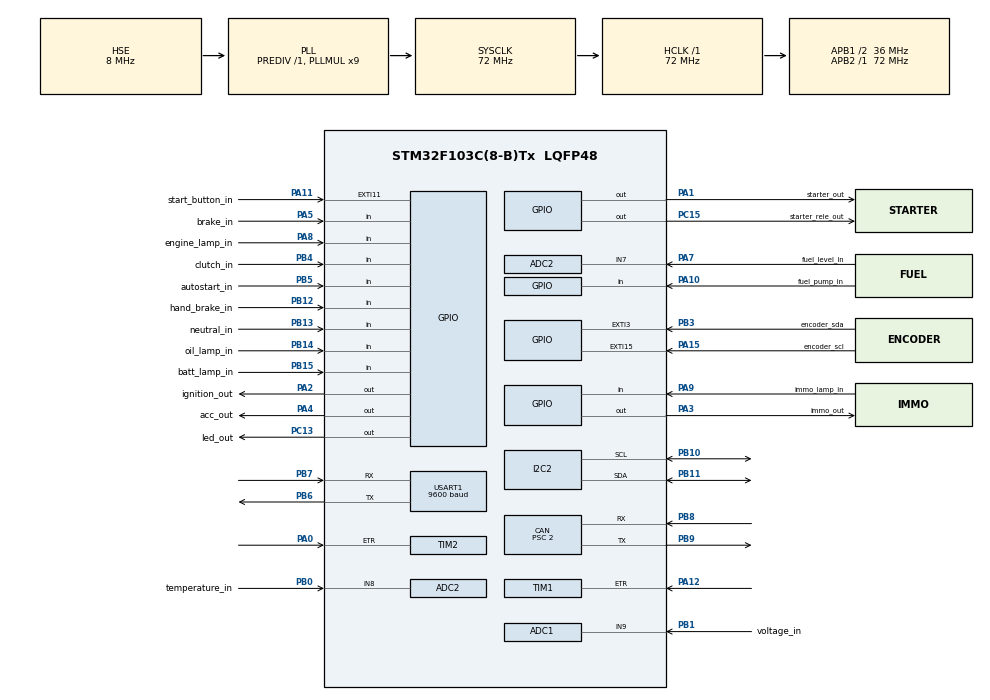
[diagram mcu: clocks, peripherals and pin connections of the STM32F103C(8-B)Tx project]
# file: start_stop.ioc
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ADC1.Channel-3\#ChannelInjectedConversion=ADC_CHANNEL_9
ADC1.EnableInjectedConversion=ENABLE
ADC1.EnableRegularConversion=DISABLE
ADC1.InjNumberOfConversion=1
ADC1.InjectedOffset-3\#ChannelInjectedConversion=0
ADC1.InjectedRank-3\#ChannelInjectedConversion=1
ADC1.SamplingTime-3\#ChannelInjectedConversion=ADC_SAMPLETIME_239CYCLES_5
ADC1.master=1
ADC2.Channel-1\#ChannelInjectedConversion=ADC_CHANNEL_8
ADC2.Channel-2\#ChannelInjectedConversion=ADC_CHANNEL_7
ADC2.EnableInjectedConversion=ENABLE
ADC2.EnableRegularConversion=DISABLE
ADC2.InjNumberOfConversion=2
ADC2.InjectedOffset-1\#ChannelInjectedConversion=0
ADC2.InjectedOffset-2\#ChannelInjectedConversion=0
ADC2.InjectedRank-1\#ChannelInjectedConversion=1
ADC2.InjectedRank-2\#ChannelInjectedConversion=2
ADC2.SamplingTime-1\#ChannelInjectedConversion=ADC_SAMPLETIME_239CYCLES_5
ADC2.SamplingTime-2\#ChannelInjectedConversion=ADC_SAMPLETIME_239CYCLES_5
CAN.BS1=CAN_BS1_15TQ
CAN.BS2=CAN_BS2_2TQ
CAN.CalculateBaudRate=1000000
CAN.CalculateTimeBit=1000
CAN.CalculateTimeQuantum=55.55555555555556
CAN.Prescaler=2
FREERTOS.INCLUDE_uxTaskPriorityGet=0
FREERTOS.INCLUDE_vTaskDelete=0
FREERTOS.INCLUDE_xTaskResumeFromISR=1
FREERTOS.MEMORY_ALLOCATION=0
FREERTOS.Tasks01=defaultTask,0,128,ProctDefaultTask,Default,NULL,Dynamic,NULL,NULL;Display,0,256,ProctDisplay,Default,NULL,Dynamic,NULL,NULL;AnalogRead,0,128,ProctAnalogRead,Default,NULL,Dynamic,NULL,NULL;DigitalRead,0,128,ProctDigitalRead,Default,NULL,Dynamic,NULL,NULL;ButtonRead,0,128,ProctButtonRead,Default,NULL,Dynamic,NULL,NULL;Outputs,0,128,ProctOutputs,Default,NULL,Dynamic,NULL,NULL;EngineStart,0,128,ProctEngineStart,Default,NULL,Dynamic,NULL,NULL;EngineStop,0,128,ProctEngineStop,Default,NULL,Dynamic,NULL,NULL;IdleTask,0,256,ProctIdle,Default,NULL,Dynamic,NULL,NULL;EngineRestart,0,128,ProctEngineRestart,Default,NULL,Dynamic,NULL,NULL;Can,0,128,ProctCan,Default,NULL,Dynamic,NULL,NULL;ProctImmoBTask,0,128,ProctImmoB,Default,NULL,Dynamic,NULL,NULL
FREERTOS.configGENERATE_RUN_TIME_STATS=1
FREERTOS.configMINIMAL_STACK_SIZE=64
FREERTOS.configTOTAL_HEAP_SIZE=10240
FREERTOS.configUSE_IDLE_HOOK=1
FREERTOS.configUSE_STATS_FORMATTING_FUNCTIONS=1
FREERTOS.configUSE_TRACE_FACILITY=1
I2C2.I2C_Mode=I2C_Fast
Mcu.Family=STM32F1
Mcu.Name=STM32F103C(8-B)Tx
Mcu.Package=LQFP48
NVIC.ADC1_2_IRQn=true\:5\:0\:false\:false\:true\:true\:true\:true\:true
NVIC.EXTI15_10_IRQn=true\:5\:0\:false\:false\:true\:true\:true\:true\:true
NVIC.EXTI3_IRQn=true\:5\:0\:false\:false\:true\:true\:true\:true\:true
NVIC.PriorityGroup=NVIC_PRIORITYGROUP_4
NVIC.TIM1_UP_IRQn=true\:5\:0\:false\:false\:true\:true\:true\:true\:true
NVIC.TIM2_IRQn=true\:5\:0\:false\:false\:true\:true\:true\:true\:true
NVIC.TIM3_IRQn=true\:5\:0\:false\:false\:true\:true\:true\:true\:true
NVIC.TIM4_IRQn=true\:15\:0\:false\:false\:true\:false\:false\:true\:true
NVIC.TimeBase=TIM4_IRQn
NVIC.TimeBaseIP=TIM4
NVIC.USB_LP_CAN1_RX0_IRQn=true\:5\:0\:false\:false\:true\:true\:true\:true\:true
PA0-WKUP.Signal=S_TIM2_CH1_ETR
PA1.GPIO_Label=starter_out
PA1.GPIO_ModeDefaultOutputPP=GPIO_MODE_OUTPUT_PP
PA1.GPIO_PuPd=GPIO_PULLDOWN
PA1.GPIO_Speed=GPIO_SPEED_FREQ_LOW
PA1.PinState=GPIO_PIN_RESET
PA1.Signal=GPIO_Output
PA10.GPIO_Label=fuel_pump_in
PA10.GPIO_Mode=GPIO_MODE_INPUT
PA10.GPIO_PuPd=GPIO_PULLDOWN
PA10.Signal=GPIO_Input
PA11.GPIO_Label=start_button_in
PA11.GPIO_ModeDefaultEXTI=GPIO_MODE_IT_RISING_FALLING
PA11.GPIO_PuPd=GPIO_PULLUP
PA11.Signal=GPXTI11
PA12.Signal=S_TIM1_ETR
PA13.Mode=Serial_Wire
PA13.Signal=SYS_JTMS-SWDIO
PA14.Mode=Serial_Wire
PA14.Signal=SYS_JTCK-SWCLK
PA15.GPIO_Label=encoder_scl
PA15.Signal=GPXTI15
PA2.GPIO_Label=ignition_out
PA2.GPIO_ModeDefaultOutputPP=GPIO_MODE_OUTPUT_PP
PA2.GPIO_PuPd=GPIO_PULLDOWN
PA2.GPIO_Speed=GPIO_SPEED_FREQ_LOW
PA2.PinState=GPIO_PIN_RESET
PA2.Signal=GPIO_Output
PA3.GPIO_Label=immo_out
PA3.GPIO_ModeDefaultOutputPP=GPIO_MODE_OUTPUT_PP
PA3.GPIO_PuPd=GPIO_PULLDOWN
PA3.GPIO_Speed=GPIO_SPEED_FREQ_LOW
PA3.PinState=GPIO_PIN_RESET
PA3.Signal=GPIO_Output
PA4.GPIO_Label=acc_out
PA4.GPIO_ModeDefaultOutputPP=GPIO_MODE_OUTPUT_PP
PA4.GPIO_PuPd=GPIO_PULLDOWN
PA4.GPIO_Speed=GPIO_SPEED_FREQ_LOW
PA4.PinState=GPIO_PIN_RESET
PA4.Signal=GPIO_Output
PA5.GPIO_Label=brake_in
PA5.GPIO_PuPd=GPIO_PULLUP
PA5.Signal=GPIO_Input
PA7.GPIO_Label=fuel_level_in
PA7.Signal=ADCx_IN7
PA8.GPIO_Label=engine_lamp_in
PA8.GPIO_Mode=GPIO_MODE_INPUT
PA8.GPIO_PuPd=GPIO_PULLUP
PA8.Signal=GPIO_Input
PA9.GPIO_Label=immo_lamp_in
PA9.Signal=GPIO_Input
PB0.GPIO_Label=temperature_in
PB0.Signal=ADCx_IN8
PB1.GPIO_Label=voltage_in
PB1.Signal=ADCx_IN9
PB10.Mode=I2C
PB10.Signal=I2C2_SCL
PB11.Mode=I2C
PB11.Signal=I2C2_SDA
PB12.GPIO_Label=hand_brake_in
PB12.GPIO_Mode=GPIO_MODE_INPUT
PB12.GPIO_PuPd=GPIO_PULLUP
PB12.Signal=GPIO_Input
PB13.GPIO_Label=neutral_in
PB13.GPIO_Mode=GPIO_MODE_INPUT
PB13.GPIO_PuPd=GPIO_PULLUP
PB13.Signal=GPIO_Input
PB14.GPIO_Label=oil_lamp_in
PB14.GPIO_Mode=GPIO_MODE_INPUT
PB14.GPIO_PuPd=GPIO_PULLUP
PB14.Signal=GPIO_Input
PB15.GPIO_Label=batt_lamp_in
PB15.GPIO_Mode=GPIO_MODE_INPUT
PB15.GPIO_PuPd=GPIO_PULLUP
PB15.Signal=GPIO_Input
PB3.GPIO_Label=encoder_sda
PB3.Signal=GPXTI3
PB4.GPIO_Label=clutch_in
PB4.GPIO_PuPd=GPIO_PULLUP
PB4.Signal=GPIO_Input
PB5.GPIO_Label=autostart_in
PB5.GPIO_PuPd=GPIO_PULLUP
PB5.Signal=GPIO_Input
PB6.Mode=Asynchronous
PB6.Signal=USART1_TX
PB7.Mode=Asynchronous
PB7.Signal=USART1_RX
PB8.Mode=CAN_Activate
PB8.Signal=CAN_RX
PB9.Mode=CAN_Activate
PB9.Signal=CAN_TX
PC13-TAMPER-RTC.GPIO_Label=led_out
PC13-TAMPER-RTC.GPIO_PuPd=GPIO_PULLUP
PC13-TAMPER-RTC.PinState=GPIO_PIN_SET
PC13-TAMPER-RTC.Signal=GPIO_Output
PC15-OSC32_OUT.GPIO_Label=starter_rele_out
PC15-OSC32_OUT.GPIO_PuPd=GPIO_PULLDOWN
PC15-OSC32_OUT.Signal=GPIO_Output
PD0-OSC_IN.Mode=HSE-External-Oscillator
PD0-OSC_IN.Signal=RCC_OSC_IN
PD1-OSC_OUT.Mode=HSE-External-Oscillator
PD1-OSC_OUT.Signal=RCC_OSC_OUT
ProjectManager.HeapSize=0x200
ProjectManager.StackSize=0x400
ProjectManager.TargetToolchain=MDK-ARM V5.32
RCC.ADCPresc=RCC_ADCPCLK2_DIV6
RCC.AHBFreq_Value=72000000
RCC.APB1CLKDivider=RCC_HCLK_DIV2
RCC.APB1Freq_Value=36000000
RCC.APB1TimFreq_Value=72000000
RCC.APB2Freq_Value=72000000
RCC.APB2TimFreq_Value=72000000
RCC.HCLKFreq_Value=72000000
RCC.PLLMUL=RCC_PLL_MUL9
RCC.PLLSourceVirtual=RCC_PLLSOURCE_HSE
RCC.SYSCLKFreq_VALUE=72000000
RCC.SYSCLKSource=RCC_SYSCLKSOURCE_PLLCLK
RCC.USBFreq_Value=72000000
SH.ADCx_IN7.0=ADC2_IN7,IN7
SH.ADCx_IN8.0=ADC2_IN8,IN8
SH.ADCx_IN9.0=ADC1_IN9,IN9
SH.S_TIM1_ETR.0=TIM1_ETR,ClockSourceETR_Mode2
SH.S_TIM2_CH1_ETR.0=TIM2_ETR,ClockSourceETR_Mode2
TIM3.Period=1000-1
TIM3.Prescaler=7200-1
TIM3.TIM_MasterOutputTrigger=TIM_TRGO_ENABLE
TIM3.TIM_MasterSlaveMode=TIM_MASTERSLAVEMODE_ENABLE
USART1.BaudRate=9600
USART1.VirtualMode=VM_ASYNC
VP_FREERTOS_VS_CMSIS_V1.Mode=CMSIS_V1
VP_SYS_VS_tim4.Mode=TIM4
VP_TIM1_VS_ClockSourceITR.Mode=TriggerSource_ITR2
VP_TIM1_VS_ControllerModeGated.Mode=Gated Mode
VP_TIM2_VS_ClockSourceITR.Mode=TriggerSource_ITR2
VP_TIM2_VS_ControllerModeGated.Mode=Gated Mode
VP_TIM3_VS_ClockSourceINT.Mode=Internal
VP_TIM3_VS_OPM.Mode=OPM_bit
board=custom

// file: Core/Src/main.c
/* USER CODE BEGIN Header */
/**
  ******************************************************************************
  * @file           : main.c
  * @brief          : Main program body
  ******************************************************************************
  * @attention
  *
  * Copyright (c) 2022 STMicroelectronics.
  * All rights reserved.
  *
  * This software is licensed under terms that can be found in the LICENSE file
  * in the root directory of this software component.
  * If no LICENSE file comes with this software, it is provided AS-IS.
  *
  ******************************************************************************
  */
/* USER CODE END Header */
#include "main.h"
#include "cmsis_os.h"

/* USER CODE BEGIN Includes */
#include <stdio.h>
#include <stdbool.h>
#include "fonts.h"
#include "ssd1306.h"
#include "string.h"
#include "DFPLAYER_MINI.h"
/* USER CODE END Includes */

/* USER CODE BEGIN PD */
uint8_t emergy = 0;

#define starter_time 150 // Время вращения стартера. Стоит полторы секунды
#define tach_run 150 // скорость стартера по stm при умножении на 30 по ECU 266
#define voltage_engine_run 12.5 // наприжение при котором считается что двигатель запущен
uint8_t engine_startup_attempts = 5; // Количество попыток запуска двигателя
#define acc_off_time_d 20 //время в секундах
//#define gear_led 2500

#define engine_temperature_stop 0 // 0 отключено
#define inside_temperature_stop 22

#define can_addr_door_fl 0x0001
#define can_addr_door_fr 0x0002
#define can_addr_climate 0x0006

#define fl_glass_closer_On 13
#define glass_closer_ok 14

#define fl_glass_blocking_On 15

#define fl_mirror_folding_On 11
#define fl_mirror_folding_Off 10
#define fl_mirror_heating_On 11
#define fl_mirror_heating_Off 10

#define climate_On 61
#define climate_Off 60

/* USER CODE END PD */

ADC_HandleTypeDef hadc1;
ADC_HandleTypeDef hadc2;

CAN_HandleTypeDef hcan;

I2C_HandleTypeDef hi2c2;

TIM_HandleTypeDef htim1;
TIM_HandleTypeDef htim2;
TIM_HandleTypeDef htim3;

UART_HandleTypeDef huart1;

osThreadId defaultTaskHandle;
osThreadId DisplayHandle;
osThreadId AnalogReadHandle;
osThreadId DigitalReadHandle;
osThreadId ButtonReadHandle;
osThreadId OutputsHandle;
osThreadId EngineStartHandle;
osThreadId EngineStopHandle;
osThreadId IdleTaskHandle;
osThreadId EngineRestartHandle;
osThreadId CanHandle;
osThreadId ProctImmoBTaskHandle;
/* USER CODE BEGIN PV */

CAN_TxHeaderTypeDef TxHeader;
CAN_RxHeaderTypeDef RxHeader;
uint8_t TxData[8] = {255, 255, 255, 255, 255, 255};
uint8_t RxData[8] = {255, 255, 255, 255, 255, 255};
uint32_t TxMailbox = 0;
bool Can_Rx = 0;

bool glass_closer_all_ok = 0;
//char pcWriteBuffer [1024];
//volatile int freemem;

bool hand_brake_flag = 0, neutral_flag = 0, clutch_flag = 0, brake_flag = 0;
bool oil_lamp_flag = 0, batt_lamp_flag = 0, engine_lamp_flag = 0, immo_flag = 0, fuel_pump_flag = 0;

bool autostart_flag = 0, autostart_acc_flag = 0;
bool engine_starting_flag = 0, engine_run_flag = 0, engine_stoping_flag = 0, engine_run_ok_flag = 0;
uint16_t starter_run = 0;
uint8_t starting_error = 0;

bool state = 0;
bool immo_false = 0;
uint16_t immo_blink_time = 0, immo_blink_time_old = 0, while_time = 5000;

bool adc1_flag = 0, adc2_flag = 0;
float voltage_value = 0, voltage = 0, voltage_start = 15, voltage_run = voltage_engine_run;

float temperature_value = 0, temperature = 0;
uint8_t warming_up = engine_temperature_stop;

float fuel_level_value = 0, fuel_level = 0;

uint8_t disp = 1;
uint8_t brightness = 254;
char lcd1602_tx_buffer[40]; //глобальный буфер данных. В него записывается текст.
extern const uint8_t logo[1024];

extern bool tim_flag;
uint16_t count_tach = 0;
uint16_t count_tach_over = 0;
uint32_t tach = 0, tach_start = 0;

uint16_t count_speed = 0;
uint16_t count_speed_over = 0;
uint32_t speed = 0;

extern uint8_t status_old;

uint8_t btn_time = 20, button_press = 0;
uint8_t encoder = 1, encoder_old = 0;

uint16_t acc_off_time = acc_off_time_d;
/* USER CODE END PV */

void SystemClock_Config(void);
static void MX_GPIO_Init(void);
static void MX_TIM1_Init(void);
static void MX_TIM2_Init(void);
static void MX_TIM3_Init(void);
static void MX_ADC1_Init(void);
static void MX_ADC2_Init(void);
static void MX_I2C2_Init(void);
static void MX_CAN_Init(void);
static void MX_USART1_UART_Init(void);
void ProctDefaultTask(void const * argument);
void ProctDisplay(void const * argument);
void ProctAnalogRead(void const * argument);
void ProctDigitalRead(void const * argument);
void ProctButtonRead(void const * argument);
void ProctOutputs(void const * argument);
void ProctEngineStart(void const * argument);
void ProctEngineStop(void const * argument);
void ProctIdle(void const * argument);
void ProctEngineRestart(void const * argument);
void ProctCan(void const * argument);
void ProctImmoB(void const * argument);

/* USER CODE BEGIN 0 */
void HAL_ADCEx_InjectedConvCpltCallback(ADC_HandleTypeDef *hadc) {
	if(hadc->Instance == ADC1){
		voltage_value = HAL_ADCEx_InjectedGetValue(&hadc1, ADC_INJECTED_RANK_1);
		voltage = (voltage_value*14.90f)/4095;
		adc1_flag = 1;
	}
	if(hadc->Instance == ADC2){
		temperature_value = HAL_ADCEx_InjectedGetValue(&hadc2, ADC_INJECTED_RANK_1);
		temperature = 130 - (temperature_value*130.0f)/(voltage_value);

		fuel_level_value = HAL_ADCEx_InjectedGetValue(&hadc2, ADC_INJECTED_RANK_2);
		fuel_level = 55 - (fuel_level_value*50.0f)/(voltage_value/4);
		adc2_flag = 1;
		// почти полный бак значение 128 по идее полный бак будет 0
		// 988 стреока на ноле. почти пустой
	}
}

void HAL_CAN_RxFifo0MsgPendingCallback(CAN_HandleTypeDef *hcan)
{
	if(HAL_CAN_GetRxMessage(hcan, CAN_RX_FIFO0, &RxHeader, RxData) == HAL_OK)
  {
		if(RxHeader.StdId == 0x0006) //
    {
			Can_Rx = 1;
//			HAL_GPIO_TogglePin(GPIOC, GPIO_PIN_13);
//			snprintf(trans_str, 128, "ID %04lX %d\n", RxHeader.StdId, RxData[0]);
//  	  HAL_UART_Transmit(&huart1, (uint8_t*)trans_str, strlen(trans_str), 100);
    }
	}
}

void HAL_CAN_ErrorCallback(CAN_HandleTypeDef *hcan)
{
    uint32_t er = HAL_CAN_GetError(hcan);
//    sprintf(trans_str,"ER CAN %lu %08lX", er, er);
//    HAL_UART_Transmit(&huart1, (uint8_t*)trans_str, strlen(trans_str), 100);
}
/* USER CODE END 0 */

int main(void)
{

  /* MCU Configuration--------------------------------------------------------*/

  /* Reset of all peripherals, Initializes the Flash interface and the Systick. */
  HAL_Init();

  /* Configure the system clock */
  SystemClock_Config();

  /* Initialize all configured peripherals */
  MX_GPIO_Init();
  MX_TIM1_Init();
  MX_TIM2_Init();
  MX_TIM3_Init();
  MX_ADC1_Init();
  MX_ADC2_Init();
  MX_I2C2_Init();
  MX_CAN_Init();
  MX_USART1_UART_Init();
  /* USER CODE BEGIN 2 */
	__HAL_TIM_CLEAR_FLAG(&htim1, TIM_SR_UIF);
	__HAL_TIM_CLEAR_FLAG(&htim2, TIM_SR_UIF);
	__HAL_TIM_CLEAR_FLAG(&htim3, TIM_SR_UIF);
	HAL_TIM_Base_Start_IT(&htim1);
	HAL_TIM_Base_Start_IT(&htim2);
	HAL_TIM_Base_Start_IT(&htim3);

	HAL_ADCEx_Calibration_Start(&hadc1);
	HAL_ADCEx_InjectedStart_IT(&hadc1);
	HAL_ADCEx_Calibration_Start(&hadc2);
	HAL_ADCEx_InjectedStart_IT(&hadc2);

	TxHeader.StdId = 0x0009;
	TxHeader.ExtId = 0;
	TxHeader.RTR = CAN_RTR_DATA; //CAN_RTR_REMOTE
	TxHeader.IDE = CAN_ID_STD;   // CAN_ID_EXT
	TxHeader.DLC = 8;
	TxHeader.TransmitGlobalTime = 0;

	HAL_CAN_Start(&hcan);
	HAL_CAN_ActivateNotification(&hcan, CAN_IT_RX_FIFO0_MSG_PENDING | CAN_IT_ERROR | CAN_IT_BUSOFF | CAN_IT_LAST_ERROR_CODE);

	GPIOA->BRR = starter_out_Pin;
	GPIOA->BRR = immo_out_Pin;
	GPIOA->BRR = acc_out_Pin;

	SSD1306_Init();
	HAL_Delay(1000);

//	DF_Init(15);
//	osDelay(200);
//  DF_PlayFolderTrack(1,1);

//  DF_PlayFromStart();

	SSD1306_DrawBitmap(0,0, logo,128, 64, 1);
	SSD1306_UpdateScreen();
	HAL_Delay(3000);

	if (!(GPIOA->IDR & encoder_scl_Pin) && (!(GPIOB->IDR & encoder_sda_Pin))) {
		status_old = 0x00;
	} else if ((GPIOA->IDR & encoder_scl_Pin) && (!(GPIOB->IDR & encoder_sda_Pin))) {
		status_old = 0x10;
	} else if ((GPIOA->IDR & encoder_scl_Pin) && (GPIOB->IDR & encoder_sda_Pin)) {
		status_old = 0x11;
	} else if (!(GPIOA->IDR & encoder_scl_Pin) && (GPIOB->IDR & encoder_sda_Pin)) {
		status_old = 0x01;
	}

  /* USER CODE END 2 */

  /* Create the thread(s) */
  /* definition and creation of defaultTask */
  osThreadDef(defaultTask, ProctDefaultTask, osPriorityNormal, 0, 128);
  defaultTaskHandle = osThreadCreate(osThread(defaultTask), NULL);

  /* definition and creation of Display */
  osThreadDef(Display, ProctDisplay, osPriorityNormal, 0, 256);
  DisplayHandle = osThreadCreate(osThread(Display), NULL);

  /* definition and creation of AnalogRead */
  osThreadDef(AnalogRead, ProctAnalogRead, osPriorityNormal, 0, 128);
  AnalogReadHandle = osThreadCreate(osThread(AnalogRead), NULL);

  /* definition and creation of DigitalRead */
  osThreadDef(DigitalRead, ProctDigitalRead, osPriorityNormal, 0, 128);
  DigitalReadHandle = osThreadCreate(osThread(DigitalRead), NULL);

  /* definition and creation of ButtonRead */
  osThreadDef(ButtonRead, ProctButtonRead, osPriorityNormal, 0, 128);
  ButtonReadHandle = osThreadCreate(osThread(ButtonRead), NULL);

  /* definition and creation of Outputs */
  osThreadDef(Outputs, ProctOutputs, osPriorityNormal, 0, 128);
  OutputsHandle = osThreadCreate(osThread(Outputs), NULL);

  /* definition and creation of EngineStart */
  osThreadDef(EngineStart, ProctEngineStart, osPriorityNormal, 0, 128);
  EngineStartHandle = osThreadCreate(osThread(EngineStart), NULL);

  /* definition and creation of EngineStop */
  osThreadDef(EngineStop, ProctEngineStop, osPriorityNormal, 0, 128);
  EngineStopHandle = osThreadCreate(osThread(EngineStop), NULL);

  /* definition and creation of IdleTask */
  osThreadDef(IdleTask, ProctIdle, osPriorityNormal, 0, 256);
  IdleTaskHandle = osThreadCreate(osThread(IdleTask), NULL);

  /* definition and creation of EngineRestart */
  osThreadDef(EngineRestart, ProctEngineRestart, osPriorityNormal, 0, 128);
  EngineRestartHandle = osThreadCreate(osThread(EngineRestart), NULL);

  /* definition and creation of Can */
  osThreadDef(Can, ProctCan, osPriorityNormal, 0, 128);
  CanHandle = osThreadCreate(osThread(Can), NULL);

  /* definition and creation of ProctImmoBTask */
  osThreadDef(ProctImmoBTask, ProctImmoB, osPriorityNormal, 0, 128);
  ProctImmoBTaskHandle = osThreadCreate(osThread(ProctImmoBTask), NULL);

  /* Start scheduler */
  osKernelStart();

  /* We should never get here as control is now taken by the scheduler */
  /* Infinite loop */
  while (1)
  {

  }
}

void SystemClock_Config(void)
{
  RCC_OscInitTypeDef RCC_OscInitStruct = {0};
  RCC_ClkInitTypeDef RCC_ClkInitStruct = {0};
  RCC_PeriphCLKInitTypeDef PeriphClkInit = {0};

  /** Initializes the RCC Oscillators according to the specified parameters
  * in the RCC_OscInitTypeDef structure.
  */
  RCC_OscInitStruct.OscillatorType = RCC_OSCILLATORTYPE_HSE;
  RCC_OscInitStruct.HSEState = RCC_HSE_ON;
  RCC_OscInitStruct.HSEPredivValue = RCC_HSE_PREDIV_DIV1;
  RCC_OscInitStruct.HSIState = RCC_HSI_ON;
  RCC_OscInitStruct.PLL.PLLState = RCC_PLL_ON;
  RCC_OscInitStruct.PLL.PLLSource = RCC_PLLSOURCE_HSE;
  RCC_OscInitStruct.PLL.PLLMUL = RCC_PLL_MUL9;
  if (HAL_RCC_OscConfig(&RCC_OscInitStruct) != HAL_OK)
  {
    Error_Handler();
  }

  /** Initializes the CPU, AHB and APB buses clocks
  */
  RCC_ClkInitStruct.ClockType = RCC_CLOCKTYPE_HCLK|RCC_CLOCKTYPE_SYSCLK
                              |RCC_CLOCKTYPE_PCLK1|RCC_CLOCKTYPE_PCLK2;
  RCC_ClkInitStruct.SYSCLKSource = RCC_SYSCLKSOURCE_PLLCLK;
  RCC_ClkInitStruct.AHBCLKDivider = RCC_SYSCLK_DIV1;
  RCC_ClkInitStruct.APB1CLKDivider = RCC_HCLK_DIV2;
  RCC_ClkInitStruct.APB2CLKDivider = RCC_HCLK_DIV1;

  if (HAL_RCC_ClockConfig(&RCC_ClkInitStruct, FLASH_LATENCY_2) != HAL_OK)
  {
    Error_Handler();
  }
  PeriphClkInit.PeriphClockSelection = RCC_PERIPHCLK_ADC;
  PeriphClkInit.AdcClockSelection = RCC_ADCPCLK2_DIV6;
  if (HAL_RCCEx_PeriphCLKConfig(&PeriphClkInit) != HAL_OK)
  {
    Error_Handler();
  }
}

static void MX_ADC1_Init(void)
{

  ADC_InjectionConfTypeDef sConfigInjected = {0};

  /** Common config
  */
  hadc1.Instance = ADC1;
  hadc1.Init.ScanConvMode = ADC_SCAN_DISABLE;
  hadc1.Init.ContinuousConvMode = DISABLE;
  hadc1.Init.DiscontinuousConvMode = DISABLE;
  hadc1.Init.ExternalTrigConv = ADC_SOFTWARE_START;
  hadc1.Init.DataAlign = ADC_DATAALIGN_RIGHT;
  hadc1.Init.NbrOfConversion = 1;
  if (HAL_ADC_Init(&hadc1) != HAL_OK)
  {
    Error_Handler();
  }

  /** Configure Injected Channel
  */
  sConfigInjected.InjectedChannel = ADC_CHANNEL_9;
  sConfigInjected.InjectedRank = ADC_INJECTED_RANK_1;
  sConfigInjected.InjectedNbrOfConversion = 1;
  sConfigInjected.InjectedSamplingTime = ADC_SAMPLETIME_239CYCLES_5;
  sConfigInjected.ExternalTrigInjecConv = ADC_INJECTED_SOFTWARE_START;
  sConfigInjected.AutoInjectedConv = DISABLE;
  sConfigInjected.InjectedDiscontinuousConvMode = DISABLE;
  sConfigInjected.InjectedOffset = 0;
  if (HAL_ADCEx_InjectedConfigChannel(&hadc1, &sConfigInjected) != HAL_OK)
  {
    Error_Handler();
  }

}

static void MX_ADC2_Init(void)
{

  ADC_InjectionConfTypeDef sConfigInjected = {0};

  /** Common config
  */
  hadc2.Instance = ADC2;
  hadc2.Init.ScanConvMode = ADC_SCAN_ENABLE;
  hadc2.Init.ContinuousConvMode = DISABLE;
  hadc2.Init.DiscontinuousConvMode = DISABLE;
  hadc2.Init.ExternalTrigConv = ADC_SOFTWARE_START;
  hadc2.Init.DataAlign = ADC_DATAALIGN_RIGHT;
  hadc2.Init.NbrOfConversion = 1;
  if (HAL_ADC_Init(&hadc2) != HAL_OK)
  {
    Error_Handler();
  }

  /** Configure Injected Channel
  */
  sConfigInjected.InjectedChannel = ADC_CHANNEL_8;
  sConfigInjected.InjectedRank = ADC_INJECTED_RANK_1;
  sConfigInjected.InjectedNbrOfConversion = 2;
  sConfigInjected.InjectedSamplingTime = ADC_SAMPLETIME_239CYCLES_5;
  sConfigInjected.ExternalTrigInjecConv = ADC_INJECTED_SOFTWARE_START;
  sConfigInjected.AutoInjectedConv = DISABLE;
  sConfigInjected.InjectedDiscontinuousConvMode = DISABLE;
  sConfigInjected.InjectedOffset = 0;
  if (HAL_ADCEx_InjectedConfigChannel(&hadc2, &sConfigInjected) != HAL_OK)
  {
    Error_Handler();
  }

  /** Configure Injected Channel
  */
  sConfigInjected.InjectedChannel = ADC_CHANNEL_7;
  sConfigInjected.InjectedRank = ADC_INJECTED_RANK_2;
	sConfigInjected.InjectedSamplingTime = ADC_SAMPLETIME_239CYCLES_5;
  if (HAL_ADCEx_InjectedConfigChannel(&hadc2, &sConfigInjected) != HAL_OK)
  {
    Error_Handler();
  }
  /* USER CODE BEGIN ADC2_Init 2 */
//   sConfigInjected.InjectedSamplingTime = ADC_SAMPLETIME_239CYCLES_5;
  /* USER CODE END ADC2_Init 2 */

}

static void MX_CAN_Init(void)
{

  /* USER CODE BEGIN CAN_Init 0 */
	CAN_FilterTypeDef  sFilterConfig;
  /* USER CODE END CAN_Init 0 */

  /* USER CODE BEGIN CAN_Init 1 */
  hcan.Instance = CAN1;
  hcan.Init.Prescaler = 2;
  hcan.Init.Mode = CAN_MODE_NORMAL;
  hcan.Init.SyncJumpWidth = CAN_SJW_1TQ;
  hcan.Init.TimeSeg1 = CAN_BS1_15TQ;
  hcan.Init.TimeSeg2 = CAN_BS2_2TQ;
  hcan.Init.TimeTriggeredMode = DISABLE;
  hcan.Init.AutoBusOff = DISABLE;
  hcan.Init.AutoWakeUp = DISABLE;
  hcan.Init.AutoRetransmission = DISABLE;
  hcan.Init.ReceiveFifoLocked = DISABLE;
  hcan.Init.TransmitFifoPriority = DISABLE;
  if (HAL_CAN_Init(&hcan) != HAL_OK)
  {
    Error_Handler();
  }
  /* USER CODE END CAN_Init 1 */
  hcan.Instance = CAN1;
  hcan.Init.Prescaler = 2;
  hcan.Init.Mode = CAN_MODE_NORMAL;
  hcan.Init.SyncJumpWidth = CAN_SJW_1TQ;
  hcan.Init.TimeSeg1 = CAN_BS1_15TQ;
  hcan.Init.TimeSeg2 = CAN_BS2_2TQ;
  hcan.Init.TimeTriggeredMode = DISABLE;
  hcan.Init.AutoBusOff = DISABLE;
  hcan.Init.AutoWakeUp = DISABLE;
  hcan.Init.AutoRetransmission = DISABLE;
  hcan.Init.ReceiveFifoLocked = DISABLE;
  hcan.Init.TransmitFifoPriority = DISABLE;
  if (HAL_CAN_Init(&hcan) != HAL_OK)
  {
    Error_Handler();
  }
  /* USER CODE BEGIN CAN_Init 2 */
	sFilterConfig.FilterBank = 0;
	sFilterConfig.FilterMode = CAN_FILTERMODE_IDMASK;
	sFilterConfig.FilterScale = CAN_FILTERSCALE_32BIT;
	sFilterConfig.FilterIdHigh = 0x0000;
	sFilterConfig.FilterIdLow = 0x0000;
	sFilterConfig.FilterMaskIdHigh = 0x0000;
	sFilterConfig.FilterMaskIdLow = 0x0000;
	sFilterConfig.FilterFIFOAssignment = CAN_RX_FIFO0;
	sFilterConfig.FilterActivation = ENABLE;
	//sFilterConfig.SlaveStartFilterBank = 14;

	if(HAL_CAN_ConfigFilter(&hcan, &sFilterConfig) != HAL_OK)
	{
	Error_Handler();
	}
  /* USER CODE END CAN_Init 2 */

}

static void MX_I2C2_Init(void)
{

  hi2c2.Instance = I2C2;
  hi2c2.Init.ClockSpeed = 400000;
  hi2c2.Init.DutyCycle = I2C_DUTYCYCLE_2;
  hi2c2.Init.OwnAddress1 = 0;
  hi2c2.Init.AddressingMode = I2C_ADDRESSINGMODE_7BIT;
  hi2c2.Init.DualAddressMode = I2C_DUALADDRESS_DISABLE;
  hi2c2.Init.OwnAddress2 = 0;
  hi2c2.Init.GeneralCallMode = I2C_GENERALCALL_DISABLE;
  hi2c2.Init.NoStretchMode = I2C_NOSTRETCH_DISABLE;
  if (HAL_I2C_Init(&hi2c2) != HAL_OK)
  {
    Error_Handler();
  }

}

static void MX_TIM1_Init(void)
{

  TIM_ClockConfigTypeDef sClockSourceConfig = {0};
  TIM_SlaveConfigTypeDef sSlaveConfig = {0};
  TIM_MasterConfigTypeDef sMasterConfig = {0};

  htim1.Instance = TIM1;
  htim1.Init.Prescaler = 0;
  htim1.Init.CounterMode = TIM_COUNTERMODE_UP;
  htim1.Init.Period = 65535;
  htim1.Init.ClockDivision = TIM_CLOCKDIVISION_DIV1;
  htim1.Init.RepetitionCounter = 0;
  htim1.Init.AutoReloadPreload = TIM_AUTORELOAD_PRELOAD_DISABLE;
  if (HAL_TIM_Base_Init(&htim1) != HAL_OK)
  {
    Error_Handler();
  }
  sClockSourceConfig.ClockSource = TIM_CLOCKSOURCE_ETRMODE2;
  sClockSourceConfig.ClockPolarity = TIM_CLOCKPOLARITY_NONINVERTED;
  sClockSourceConfig.ClockPrescaler = TIM_CLOCKPRESCALER_DIV1;
  sClockSourceConfig.ClockFilter = 0;
  if (HAL_TIM_ConfigClockSource(&htim1, &sClockSourceConfig) != HAL_OK)
  {
    Error_Handler();
  }
  sSlaveConfig.SlaveMode = TIM_SLAVEMODE_GATED;
  sSlaveConfig.InputTrigger = TIM_TS_ITR2;
  if (HAL_TIM_SlaveConfigSynchro(&htim1, &sSlaveConfig) != HAL_OK)
  {
    Error_Handler();
  }
  sMasterConfig.MasterOutputTrigger = TIM_TRGO_RESET;
  sMasterConfig.MasterSlaveMode = TIM_MASTERSLAVEMODE_DISABLE;
  if (HAL_TIMEx_MasterConfigSynchronization(&htim1, &sMasterConfig) != HAL_OK)
  {
    Error_Handler();
  }

}

static void MX_TIM2_Init(void)
{

  TIM_ClockConfigTypeDef sClockSourceConfig = {0};
  TIM_SlaveConfigTypeDef sSlaveConfig = {0};
  TIM_MasterConfigTypeDef sMasterConfig = {0};

  htim2.Instance = TIM2;
  htim2.Init.Prescaler = 0;
  htim2.Init.CounterMode = TIM_COUNTERMODE_UP;
  htim2.Init.Period = 65535;
  htim2.Init.ClockDivision = TIM_CLOCKDIVISION_DIV1;
  htim2.Init.AutoReloadPreload = TIM_AUTORELOAD_PRELOAD_DISABLE;
  if (HAL_TIM_Base_Init(&htim2) != HAL_OK)
  {
    Error_Handler();
  }
  sClockSourceConfig.ClockSource = TIM_CLOCKSOURCE_ETRMODE2;
  sClockSourceConfig.ClockPolarity = TIM_CLOCKPOLARITY_NONINVERTED;
  sClockSourceConfig.ClockPrescaler = TIM_CLOCKPRESCALER_DIV1;
  sClockSourceConfig.ClockFilter = 0;
  if (HAL_TIM_ConfigClockSource(&htim2, &sClockSourceConfig) != HAL_OK)
  {
    Error_Handler();
  }
  sSlaveConfig.SlaveMode = TIM_SLAVEMODE_GATED;
  sSlaveConfig.InputTrigger = TIM_TS_ITR2;
  if (HAL_TIM_SlaveConfigSynchro(&htim2, &sSlaveConfig) != HAL_OK)
  {
    Error_Handler();
  }
  sMasterConfig.MasterOutputTrigger = TIM_TRGO_RESET;
  sMasterConfig.MasterSlaveMode = TIM_MASTERSLAVEMODE_DISABLE;
  if (HAL_TIMEx_MasterConfigSynchronization(&htim2, &sMasterConfig) != HAL_OK)
  {
    Error_Handler();
  }

}

static void MX_TIM3_Init(void)
{

  TIM_ClockConfigTypeDef sClockSourceConfig = {0};
  TIM_MasterConfigTypeDef sMasterConfig = {0};

  htim3.Instance = TIM3;
  htim3.Init.Prescaler = 7200-1;
  htim3.Init.CounterMode = TIM_COUNTERMODE_UP;
  htim3.Init.Period = 1000-1;
  htim3.Init.ClockDivision = TIM_CLOCKDIVISION_DIV1;
  htim3.Init.AutoReloadPreload = TIM_AUTORELOAD_PRELOAD_DISABLE;
  if (HAL_TIM_Base_Init(&htim3) != HAL_OK)
  {
    Error_Handler();
  }
  sClockSourceConfig.ClockSource = TIM_CLOCKSOURCE_INTERNAL;
  if (HAL_TIM_ConfigClockSource(&htim3, &sClockSourceConfig) != HAL_OK)
  {
    Error_Handler();
  }
  if (HAL_TIM_OnePulse_Init(&htim3, TIM_OPMODE_SINGLE) != HAL_OK)
  {
    Error_Handler();
  }
  sMasterConfig.MasterOutputTrigger = TIM_TRGO_ENABLE;
  sMasterConfig.MasterSlaveMode = TIM_MASTERSLAVEMODE_ENABLE;
  if (HAL_TIMEx_MasterConfigSynchronization(&htim3, &sMasterConfig) != HAL_OK)
  {
    Error_Handler();
  }

}

static void MX_USART1_UART_Init(void)
{

  huart1.Instance = USART1;
  huart1.Init.BaudRate = 9600;
  huart1.Init.WordLength = UART_WORDLENGTH_8B;
  huart1.Init.StopBits = UART_STOPBITS_1;
  huart1.Init.Parity = UART_PARITY_NONE;
  huart1.Init.Mode = UART_MODE_TX_RX;
  huart1.Init.HwFlowCtl = UART_HWCONTROL_NONE;
  huart1.Init.OverSampling = UART_OVERSAMPLING_16;
  if (HAL_UART_Init(&huart1) != HAL_OK)
  {
    Error_Handler();
  }

}

static void MX_GPIO_Init(void)
{
  GPIO_InitTypeDef GPIO_InitStruct = {0};

  /* GPIO Ports Clock Enable */
  __HAL_RCC_GPIOC_CLK_ENABLE();
  __HAL_RCC_GPIOD_CLK_ENABLE();
  __HAL_RCC_GPIOA_CLK_ENABLE();
  __HAL_RCC_GPIOB_CLK_ENABLE();

  /*Configure GPIO pin Output Level */
  HAL_GPIO_WritePin(led_out_GPIO_Port, led_out_Pin, GPIO_PIN_SET);

  /*Configure GPIO pin Output Level */
  HAL_GPIO_WritePin(starter_rele_out_GPIO_Port, starter_rele_out_Pin, GPIO_PIN_RESET);

  /*Configure GPIO pin Output Level */
  HAL_GPIO_WritePin(GPIOA, starter_out_Pin|ignition_out_Pin|immo_out_Pin|acc_out_Pin, GPIO_PIN_RESET);

  /*Configure GPIO pin : led_out_Pin */
  GPIO_InitStruct.Pin = led_out_Pin;
  GPIO_InitStruct.Mode = GPIO_MODE_OUTPUT_PP;
  GPIO_InitStruct.Pull = GPIO_PULLUP;
  GPIO_InitStruct.Speed = GPIO_SPEED_FREQ_LOW;
  HAL_GPIO_Init(led_out_GPIO_Port, &GPIO_InitStruct);

  /*Configure GPIO pin : starter_rele_out_Pin */
  GPIO_InitStruct.Pin = starter_rele_out_Pin;
  GPIO_InitStruct.Mode = GPIO_MODE_OUTPUT_PP;
  GPIO_InitStruct.Pull = GPIO_PULLDOWN;
  GPIO_InitStruct.Speed = GPIO_SPEED_FREQ_LOW;
  HAL_GPIO_Init(starter_rele_out_GPIO_Port, &GPIO_InitStruct);

  /*Configure GPIO pins : starter_out_Pin ignition_out_Pin immo_out_Pin acc_out_Pin */
  GPIO_InitStruct.Pin = starter_out_Pin|ignition_out_Pin|immo_out_Pin|acc_out_Pin;
  GPIO_InitStruct.Mode = GPIO_MODE_OUTPUT_PP;
  GPIO_InitStruct.Pull = GPIO_PULLDOWN;
  GPIO_InitStruct.Speed = GPIO_SPEED_FREQ_LOW;
  HAL_GPIO_Init(GPIOA, &GPIO_InitStruct);

  /*Configure GPIO pins : brake_in_Pin engine_lamp_in_Pin */
  GPIO_InitStruct.Pin = brake_in_Pin|engine_lamp_in_Pin;
  GPIO_InitStruct.Mode = GPIO_MODE_INPUT;
  GPIO_InitStruct.Pull = GPIO_PULLUP;
  HAL_GPIO_Init(GPIOA, &GPIO_InitStruct);

  /*Configure GPIO pins : hand_brake_in_Pin neutral_in_Pin oil_lamp_in_Pin batt_lamp_in_Pin
                           clutch_in_Pin autostart_in_Pin */
  GPIO_InitStruct.Pin = hand_brake_in_Pin|neutral_in_Pin|oil_lamp_in_Pin|batt_lamp_in_Pin
                          |clutch_in_Pin|autostart_in_Pin;
  GPIO_InitStruct.Mode = GPIO_MODE_INPUT;
  GPIO_InitStruct.Pull = GPIO_PULLUP;
  HAL_GPIO_Init(GPIOB, &GPIO_InitStruct);

  /*Configure GPIO pin : immo_lamp_in_Pin */
  GPIO_InitStruct.Pin = immo_lamp_in_Pin;
  GPIO_InitStruct.Mode = GPIO_MODE_INPUT;
  GPIO_InitStruct.Pull = GPIO_NOPULL;
  HAL_GPIO_Init(immo_lamp_in_GPIO_Port, &GPIO_InitStruct);

  /*Configure GPIO pin : fuel_pump_in_Pin */
  GPIO_InitStruct.Pin = fuel_pump_in_Pin;
  GPIO_InitStruct.Mode = GPIO_MODE_INPUT;
  GPIO_InitStruct.Pull = GPIO_PULLDOWN;
  HAL_GPIO_Init(fuel_pump_in_GPIO_Port, &GPIO_InitStruct);

  /*Configure GPIO pin : start_button_in_Pin */
  GPIO_InitStruct.Pin = start_button_in_Pin;
  GPIO_InitStruct.Mode = GPIO_MODE_IT_RISING_FALLING;
  GPIO_InitStruct.Pull = GPIO_PULLUP;
  HAL_GPIO_Init(start_button_in_GPIO_Port, &GPIO_InitStruct);

  /*Configure GPIO pin : encoder_scl_Pin */
  GPIO_InitStruct.Pin = encoder_scl_Pin;
  GPIO_InitStruct.Mode = GPIO_MODE_IT_RISING;
  GPIO_InitStruct.Pull = GPIO_NOPULL;
  HAL_GPIO_Init(encoder_scl_GPIO_Port, &GPIO_InitStruct);

  /*Configure GPIO pin : encoder_sda_Pin */
  GPIO_InitStruct.Pin = encoder_sda_Pin;
  GPIO_InitStruct.Mode = GPIO_MODE_IT_RISING;
  GPIO_InitStruct.Pull = GPIO_NOPULL;
  HAL_GPIO_Init(encoder_sda_GPIO_Port, &GPIO_InitStruct);

  /* EXTI interrupt init*/
  HAL_NVIC_SetPriority(EXTI3_IRQn, 5, 0);
  HAL_NVIC_EnableIRQ(EXTI3_IRQn);

  HAL_NVIC_SetPriority(EXTI15_10_IRQn, 5, 0);
  HAL_NVIC_EnableIRQ(EXTI15_10_IRQn);

}

void ProctDefaultTask(void const * argument)
{
  /* USER CODE BEGIN 5 */
  /* Infinite loop */
  for(;;)
  {
		if(emergy){
			SSD1306_Init();
			SSD1306_GotoXY (0,0);
			sprintf(lcd1602_tx_buffer, "EMERGY %1d ", emergy);
			SSD1306_Puts (lcd1602_tx_buffer, &Font_11x18, 1);

			SSD1306_GotoXY (0,18);
			sprintf(lcd1602_tx_buffer, "%4.1f V ", voltage);
			SSD1306_Puts (lcd1602_tx_buffer, &Font_11x18, 1);
			SSD1306_GotoXY (77,18);
			sprintf(lcd1602_tx_buffer, "%4.1f V", voltage_start);
			SSD1306_Puts (lcd1602_tx_buffer, &Font_11x18, 1);

			SSD1306_UpdateScreen();
			osDelay(2000);

			GPIOA->BSRR = acc_out_Pin;
			osDelay(2000);

			GPIOA->BSRR = immo_out_Pin; // Обход иммобилайзера вкл
			osDelay(2000);

			GPIOC->BSRR = starter_rele_out_Pin; // Обход реле стартера
			osDelay(2000);

			GPIOA->BSRR = ignition_out_Pin; // Зажигание вкл
		}

		else{

			if(immo_blink_time_old > 200 && immo_blink_time_old < 500 &&  !state){  // Включить аксуссуары, экран, кнопки 1705-1716 **// immo_blink_time_old > 1000 && immo_blink_time_old < 1950 &&
				SSD1306_Init();
				GPIOA->BSRR = acc_out_Pin;

				SSD1306_DrawBitmap(0,0, logo,128, 64, 1);
	//			for(int j = 0; j<30;j++)
	//			{
	//				SSD1306_Set_Brightness(64);
	//				SSD1306_UpdateScreen();
	//				osDelay(1000);

	//				SSD1306_Set_Brightness(brightness); //работает 254
	//				SSD1306_UpdateScreen();
	//				osDelay(1000);

	////			SSD1306_ON();
	////			SSD1306_OFF();
	//			}
				SSD1306_UpdateScreen();
				osDelay(1000);
				SSD1306_Clear();
				disp = 1;
				state = 1;

	//			vTaskResume(ButtonReadHandle);
	//			vTaskResume(DisplayHandle);
			}

			if(immo_blink_time_old > 1000 && immo_blink_time_old < 2000 && state) { // Выключить аксуссуары, экран, кнопки  544-554
	//			taskENTER_CRITICAL();
				SSD1306_Init();
				TxHeader.StdId = can_addr_door_fl;
				TxData[0] = fl_glass_closer_On;
				TxData[1] = fl_mirror_folding_On;
				TxData[2] = fl_mirror_heating_Off;

				while(HAL_CAN_GetTxMailboxesFreeLevel(&hcan) == 0);
				if(HAL_CAN_AddTxMessage(&hcan, &TxHeader, TxData, &TxMailbox) != HAL_OK)
				{
			//		HAL_UART_Transmit(&huart1, (uint8_t*)"ER SEND\n", 8, 100);
				}

	//			TxHeader.StdId = can_addr_climate;
	//			TxData[0] = climate_off;
	//			while(HAL_CAN_GetTxMailboxesFreeLevel(&hcan) == 0);
	//			if(HAL_CAN_AddTxMessage(&hcan, &TxHeader, TxData, &TxMailbox) != HAL_OK)
	//			{
	//		//		HAL_UART_Transmit(&huart1, (uint8_t*)"ER SEND\n", 8, 100);
	//			}
	//			taskEXIT_CRITICAL();
				state = 0;
	//			while(!glass_closer_all_ok) osDelay(10);
				osDelay(6000);// еще подождать складывание зеркал

				glass_closer_all_ok = 0;
				SSD1306_Clear();

				if(state)	return; // выброс из функции
				GPIOA->BRR = acc_out_Pin;
	//			vTaskSuspend(DisplayHandle);
	//			vTaskSuspend(ButtonReadHandle);
			}

			if(immo_blink_time_old > 1262 && immo_blink_time_old < 1472 && (GPIOA->IDR &ignition_out_Pin)){ // Нет иммобилайзера 1362-1372
				immo_false = 1;
			}

			if(immo_blink_time_old > 1262 && immo_blink_time_old < 1472 && (GPIOA->IDR &ignition_out_Pin)){ // земерить режим программирования
				immo_false = 1;
			}

			osDelay(10);
		}
	}
  /* USER CODE END 5 */
}

void ProctDisplay(void const * argument)
{
  /* USER CODE BEGIN ProctDisplay */
  /* Infinite loop */
  for(;;)
  {
		if (state){
//			switch (disp)
//			{
//				case 0:
//					if (tim_flag) {
//							if (tach <= 100) {
//							sprintf(lcd1602_tx_buffer, "%8.3f Hz", (float) tach);
//							SSD1306_GotoXY (0,0);
//							SSD1306_Puts (lcd1602_tx_buffer, &Font_11x18, 1);
//						} else if (tach > 100 && tach < 100000) {
//							sprintf(lcd1602_tx_buffer, "%7.3f kHz", (float) tach / 1000);
//							SSD1306_GotoXY (0,0);
//							SSD1306_Puts (lcd1602_tx_buffer, &Font_11x18, 1);
//						} else if (tach >= 100000) {
//							sprintf(lcd1602_tx_buffer, "%7.3f MHz", (float) tach / 1000000);
//							SSD1306_GotoXY (0,0);
//							SSD1306_Puts (lcd1602_tx_buffer, &Font_11x18, 1);
//						}
//
//						if (speed <= 100) {
//							sprintf(lcd1602_tx_buffer, "%8.3f Hz", (float) speed);
//							SSD1306_GotoXY (0,18);
//							SSD1306_Puts (lcd1602_tx_buffer, &Font_11x18, 1);
//						} else if (speed > 100 && speed < 100000) {
//							sprintf(lcd1602_tx_buffer, "%7.3f kHz", (float) speed / 1000);
//							SSD1306_GotoXY (0,18);
//							SSD1306_Puts (lcd1602_tx_buffer, &Font_11x18, 1);
//						} else if (speed >= 100000) {
//							sprintf(lcd1602_tx_buffer, "%7.3f MHz", (float) speed / 1000000);
//							SSD1306_GotoXY (0,18);
//							SSD1306_Puts (lcd1602_tx_buffer, &Font_11x18, 1);
//						}
//
//						SSD1306_GotoXY (0,36);
//						sprintf(lcd1602_tx_buffer, "fuel pump %1d ", fuel_pump_flag);
//						SSD1306_Puts (lcd1602_tx_buffer, &Font_11x18, 1);
//					}
//				break;
//				case 1:
//					if (adc1_flag) {
//						SSD1306_GotoXY (0,0);
//						sprintf(lcd1602_tx_buffer, "%4.1f V ", voltage);
//						SSD1306_Puts (lcd1602_tx_buffer, &Font_11x18, 1);
//						SSD1306_GotoXY (77,0);
//						sprintf(lcd1602_tx_buffer, "%4.1f V", voltage_start);
//						SSD1306_Puts (lcd1602_tx_buffer, &Font_11x18, 1);
//					}
//
//					if (adc2_flag) {
//						SSD1306_GotoXY (0,18);
//						sprintf(lcd1602_tx_buffer, "%3.0f C ", temperature);
//						SSD1306_Puts (lcd1602_tx_buffer, &Font_11x18, 1);
//						SSD1306_GotoXY (66,18);
//						sprintf(lcd1602_tx_buffer, "%4.1f L ", fuel_level);
//						SSD1306_Puts (lcd1602_tx_buffer, &Font_11x18, 1);
//					}
//
//					if(tim_flag){
//						sprintf(lcd1602_tx_buffer, "%7.2f rpm", (float) tach );
//						SSD1306_GotoXY (0,36);
//						SSD1306_Puts (lcd1602_tx_buffer, &Font_11x18, 1);
////						if(tach>gear_led && GPIOC->IDR &led_out_Pin) GPIOC->BRR = led_out_Pin;
////						if(tach<gear_led && !(GPIOC->IDR &led_out_Pin)) GPIOC->BSRR = led_out_Pin;
//					}
//					break;
//				case 2:
//					SSD1306_GotoXY (0,0);
//					sprintf(lcd1602_tx_buffer, "h brake   %1d", hand_brake_flag);
//					SSD1306_Puts (lcd1602_tx_buffer, &Font_11x18, 1);
//					SSD1306_GotoXY (0,18);
//					sprintf(lcd1602_tx_buffer, "neutral   %1d", neutral_flag);
//					SSD1306_Puts (lcd1602_tx_buffer, &Font_11x18, 1);
//					SSD1306_GotoXY (0,36);
//					sprintf(lcd1602_tx_buffer, "oil lamp  %1d", oil_lamp_flag);
//					SSD1306_Puts (lcd1602_tx_buffer, &Font_11x18, 1);
//				break;
//				case 3:
//					SSD1306_GotoXY (0,0);
//					sprintf(lcd1602_tx_buffer, "batt lamp %1d", batt_lamp_flag);
//					SSD1306_Puts (lcd1602_tx_buffer, &Font_11x18, 1);
//					SSD1306_GotoXY (0,18);
//					sprintf(lcd1602_tx_buffer, "engine    %1d", engine_lamp_flag);
//					SSD1306_Puts (lcd1602_tx_buffer, &Font_11x18, 1);
//					SSD1306_GotoXY (0,36);
//					sprintf(lcd1602_tx_buffer, "immo lamp %1d", immo_flag);
//					SSD1306_Puts (lcd1602_tx_buffer, &Font_11x18, 1);
//					break;
//				case 4:
//					SSD1306_GotoXY (0,0);
//					sprintf(lcd1602_tx_buffer, "autostart %1d", autostart_flag);
//					SSD1306_Puts (lcd1602_tx_buffer, &Font_11x18, 1);
//					SSD1306_GotoXY (0,18);
//					sprintf(lcd1602_tx_buffer, "clutch    %1d", clutch_flag);
//					SSD1306_Puts (lcd1602_tx_buffer, &Font_11x18, 1);
//					SSD1306_GotoXY (0,36);
//					sprintf(lcd1602_tx_buffer, "brake     %1d", brake_flag);
//					SSD1306_Puts (lcd1602_tx_buffer, &Font_11x18, 1);
//					break;
//				default:
//					break;
//			}
//			if (adc1_flag || adc2_flag || tim_flag){
//				taskENTER_CRITICAL();
//				SSD1306_UpdateScreen();
//				taskEXIT_CRITICAL();
//			}

		}
			if (tim_flag) {
				tim_flag = 0;
			}
			if (adc1_flag) {
				adc1_flag = 0;
				HAL_ADCEx_InjectedStart_IT(&hadc1);
			}
			if (adc2_flag) {
				adc2_flag = 0;
				HAL_ADCEx_InjectedStart_IT(&hadc2);
			}
		osDelay(50);
  }
  /* USER CODE END ProctDisplay */
}

void ProctAnalogRead(void const * argument)
{
  /* USER CODE BEGIN ProctAnalogRead */
  /* Infinite loop */
  for(;;)
  {
		if (state && encoder != encoder_old){
			disp = encoder;
			disp >= 5 ? disp = 0: disp;
			encoder = disp;
			encoder_old = encoder;
		}
//		if(state) {
//			SSD1306_Set_Brightness(brightness); //работает 254
//			SSD1306_UpdateScreen();
//		}
		osDelay(1);
  }
  /* USER CODE END ProctAnalogRead */
}

void ProctDigitalRead(void const * argument)
{
  /* USER CODE BEGIN ProctDigitalRead */
  /* Infinite loop */
  for(;;)
  {
		if(!(GPIOB->IDR &hand_brake_in_Pin)) hand_brake_flag = 1;
		else hand_brake_flag = 0;

		if(!(GPIOB->IDR &neutral_in_Pin )) neutral_flag = 1;
		else neutral_flag = 0;

		if(!(GPIOB->IDR &oil_lamp_in_Pin)) oil_lamp_flag = 1;
		else oil_lamp_flag = 0;

		if(!(GPIOB->IDR &batt_lamp_in_Pin)) batt_lamp_flag = 1; // разобратсья почему не работает
		else batt_lamp_flag = 0;

		if(!(GPIOA->IDR &engine_lamp_in_Pin)) engine_lamp_flag = 1;
		else engine_lamp_flag = 0;

		if(!(GPIOA->IDR &immo_lamp_in_Pin)) immo_flag = 1;
		else immo_flag = 0;

		if(!(GPIOA->IDR &fuel_pump_in_Pin)) fuel_pump_flag = 1;
		else fuel_pump_flag = 0;

		if(GPIOA->IDR &brake_in_Pin) brake_flag = 1;
		else brake_flag = 0;

//		if(!(GPIOB->IDR &autostart_in_Pin)) autostart_flag = 1;
//		else autostart_flag = 0;

		if(!(GPIOB->IDR &clutch_in_Pin)) clutch_flag = 1;
		else clutch_flag = 0;

		osDelay(1);
  }
  /* USER CODE END ProctDigitalRead */
}

void ProctButtonRead(void const * argument)
{
  /* USER CODE BEGIN ProctButtonRead */
  /* Infinite loop */
  for(;;)
  {
		if(state){
			if( button_press ){ // !(GPIOA->IDR &start_button_in_Pin)

				if( (!engine_starting_flag && !engine_run_flag) ){
					engine_stoping_flag = 0;
					engine_starting_flag = 1;
				}
				else {
					if(autostart_flag) autostart_flag = 0;
						engine_starting_flag = 0;
						engine_stoping_flag = 1;
				}

				while(!(GPIOA->IDR &start_button_in_Pin) || button_press ) osDelay(10);
			}

			if(autostart_flag){
				if(!(GPIOB->IDR &autostart_in_Pin)){
					if( (!engine_starting_flag && !engine_run_flag) ){
		//				vTaskSuspend(StartingEngineHandle);
					}
					else {
		//				vTaskSuspend(StartingEngineHandle);
						autostart_flag  = 0;
						if(engine_run_flag){
							immo_blink_time_old = 900;
						}
						engine_stoping_flag = 1;
						engine_starting_flag = 0;
		//				vTaskResume(StopingEngineHandle);
					}
				}
			}
		}
		else{
			if(!(GPIOB->IDR &autostart_in_Pin)){
				osDelay(2000);
				if( (!engine_starting_flag && !engine_run_flag) ){
	//				vTaskSuspend(StopingEngineHandle);
					autostart_flag  = 1;
					engine_stoping_flag = 0;
					engine_starting_flag = 1;
	//				vTaskResume(StartingEngineHandle);
				}
			}
		}
		osDelay(50);
	}
  /* USER CODE END ProctButtonRead */
}

void ProctOutputs(void const * argument)
{
  /* USER CODE BEGIN ProctOutputs */
  /* Infinite loop */
  for(;;)
  { //остановка двигателя по температуре двигателя
//		if(autostart_flag && engine_run_flag && warming_up && adc2_flag && temperature>warming_up){
////			vTaskSuspend(StartingEngineHandle);
//			autostart_flag  = 0;
//			if(engine_run_flag) immo_blink_time_old = 900;
//			engine_stoping_flag = 1;
//			engine_starting_flag = 0;
////			vTaskResume(StopingEngineHandle);
//			osDelay(1000);
//		}
		if( voltage > voltage_start+1.0 && tach>tach_run && !engine_run_flag){ //
			engine_run_flag = 1;
//			if(oil_lamp_flag){  // || batt_lamp_flag
//					GPIOA->BRR = starter_out_Pin; // Выключить стартер
//					GPIOA->BRR = immo_out_Pin; 		// Выключить иммобилайзер
//					GPIOA->BRR = ignition_out_Pin; 		// Выключить зажигаине
//			}

		}
			if( !oil_lamp_flag && tach > 800 && voltage > 13 && !batt_lamp_flag) engine_run_ok_flag = 1; //   лампа до вкл зыжигания уже ноль
			else {
				engine_run_ok_flag = 0; //глушить если нет давления масла
//				engine_starting_flag = 0;
//				engine_stoping_flag = 1;
			}
		//		if( oil_lamp_flag && tach < 250 && engine_run_flag ) engine_run_flag = 0; //&& batt_lamp_flag
		osDelay(10);
  }
  /* USER CODE END ProctOutputs */
}

void ProctEngineStart(void const * argument)
{
  /* USER CODE BEGIN ProctEngineStart */
  /* Infinite loop */
  for(;;)
  {
		if(engine_starting_flag && !engine_run_flag){
//				if((GPIOA->IDR &ignition_out_Pin))  Заготовка под рестарт кнопкой по короткому нажатию без выключения зажиганиея
			do
				{
				if(!autostart_flag)	engine_startup_attempts = 1;
				else	if (engine_startup_attempts < 5) osDelay(3000);
				starter_run = 0;
				starting_error = 0;
				immo_false = 0;
				GPIOA->BSRR = immo_out_Pin; // Обход иммобилайзера вкл
				if(autostart_flag) osDelay(1500);
				osDelay(500);
				GPIOA->BSRR = ignition_out_Pin; // Зажигание вкл
				if(autostart_flag) osDelay(1500);
				osDelay(500);

				voltage_start = voltage;
				if (neutral_flag && hand_brake_flag ){ // Проверка что включена нейтраль и ручник
					while (fuel_pump_flag) osDelay(10); // Ожидаем накачку топлива бензонасосом

					GPIOA->BSRR = starter_out_Pin; //Реле стартера вкл
					starter_run = 0;
					while (!engine_run_flag && starter_run < starter_time)
					{
						if(starter_run > 100 && tach < tach_run && engine_startup_attempts == 1 && !GPIOC->IDR &starter_rele_out_Pin)
						{
							starter_run = starter_time;
							GPIOC->BSRR = starter_rele_out_Pin; //разрешает запуск стартера без разрешения
						}
						starter_run++;
						osDelay(10);
					}

					GPIOC->BRR = starter_rele_out_Pin; // Обход реле стартера выкл
					GPIOA->BRR = starter_out_Pin; // Реле стартера выкл

				  osDelay(2000);
					if( !engine_run_flag && starter_run >= starter_time ){
						starting_error = 1;
						GPIOA->BRR = ignition_out_Pin; // Зажигание выкл
						GPIOA->BRR = immo_out_Pin; // Обход иммобилайзера выкл
					  engine_starting_flag = 0;
						osDelay(1000);
					}

					//			while( ) osDelay(1); //иммобилайзер не моргает

					if (autostart_flag && !starting_error) {
						immo_blink_time_old = 250;
						autostart_acc_flag = 1;
						osDelay(2000);

						// Включение подогрева зеркал
						TxHeader.StdId = can_addr_door_fl;
						TxData[2] = fl_mirror_heating_On;
						while(HAL_CAN_GetTxMailboxesFreeLevel(&hcan) == 0);
						if(HAL_CAN_AddTxMessage(&hcan, &TxHeader, TxData, &TxMailbox) != HAL_OK)
						{
					//		HAL_UART_Transmit(&huart1, (uint8_t*)"ER SEND\n", 8, 100);
						}
						RxData[2] = 255;
						TxData[2] = 255;
					}
				}
				else {
					engine_starting_flag = 0;
					engine_stoping_flag = 1;
				}

					engine_startup_attempts --;
				} while (engine_startup_attempts && !engine_run_flag);

				if(!engine_run_flag){
					engine_starting_flag = 0;
					engine_stoping_flag = 1;
				}
				engine_startup_attempts = 5;
		}
    osDelay(1);
  }
  /* USER CODE END ProctEngineStart */
}

void ProctEngineStop(void const * argument)
{
  /* USER CODE BEGIN ProctEngineStop */
  /* Infinite loop */
  for(;;)
  {
		if(engine_stoping_flag){
			GPIOA->BRR = starter_out_Pin;
			GPIOA->BRR = ignition_out_Pin;
			GPIOA->BRR = immo_out_Pin;
			osDelay(3000);
			engine_run_flag = 0;
			if(autostart_flag) immo_blink_time_old = 1500;
			engine_stoping_flag = 0;
		}
    osDelay(10);
  }
  /* USER CODE END ProctEngineStop */
}

void ProctIdle(void const * argument)
{
  /* USER CODE BEGIN ProctIdle */
  /* Infinite loop */
  for(;;)
  {
//		osDelay(2000);
//		freemem = xPortGetFreeHeapSize();
//		vTaskList (pcWriteBuffer);
		osDelay(1);
  }
  /* USER CODE END ProctIdle */
}

void ProctEngineRestart(void const * argument)
{
  for(;;)
  {
    osDelay(1);
  }
}

void ProctCan(void const * argument)
{
  /* USER CODE BEGIN ProctCan */
  /* Infinite loop */
  for(;;)
  {
		if(Can_Rx){
			Can_Rx = 0;
			if(RxData[0] != 255){
				switch (RxData[0])
				{
					case glass_closer_ok: glass_closer_all_ok = 1;
						break;
					default:
						break;
				}
				RxData[0] = 255;
			}
		}
	  osDelay(10);
  }
  /* USER CODE END ProctCan */
}

void ProctImmoB(void const * argument)
{
  /* USER CODE BEGIN ProctImmoB */
  /* Infinite loop */
  for(;;)
  {
		if(immo_flag && !engine_run_flag)
		{
			if(immo_blink_time != 0) { immo_blink_time_old = immo_blink_time; immo_blink_time = 0; }
//				if(!state){
//					SSD1306_GotoXY (0,0);
//					sprintf(lcd1602_tx_buffer, "Immo %4.0d", immo_blink_time_old );
//					SSD1306_Puts (lcd1602_tx_buffer, &Font_11x18, 1);
//					SSD1306_UpdateScreen();
//				}
		}
		else{
			if(immo_blink_time < 3000) immo_blink_time++;
		}

    osDelay(1);
  }
  /* USER CODE END ProctImmoB */
}

void HAL_TIM_PeriodElapsedCallback(TIM_HandleTypeDef *htim)
{
  if (htim->Instance == TIM4) {
    HAL_IncTick();
  }
}

void Error_Handler(void)
{
  __disable_irq();
  while (1)
  {
  }
}

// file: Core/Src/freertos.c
/* USER CODE BEGIN Header */
/**
  ******************************************************************************
  * File Name          : freertos.c
  * Description        : Code for freertos applications
  ******************************************************************************
  * @attention
  *
  * Copyright (c) 2022 STMicroelectronics.
  * All rights reserved.
  *
  * This software is licensed under terms that can be found in the LICENSE file
  * in the root directory of this software component.
  * If no LICENSE file comes with this software, it is provided AS-IS.
  *
  ******************************************************************************
  */
/* USER CODE END Header */

#include "FreeRTOS.h"
#include "task.h"
#include "main.h"

/* Hook prototypes */
void configureTimerForRunTimeStats(void);
unsigned long getRunTimeCounterValue(void);
void vApplicationIdleHook(void);

/* USER CODE BEGIN 1 */
/* Functions needed when configGENERATE_RUN_TIME_STATS is on */
__weak void configureTimerForRunTimeStats(void)
{

}

__weak unsigned long getRunTimeCounterValue(void)
{
return 0;
}
/* USER CODE END 1 */

/* USER CODE BEGIN 2 */
__weak void vApplicationIdleHook( void )
{
   /* vApplicationIdleHook() will only be called if configUSE_IDLE_HOOK is set
   to 1 in FreeRTOSConfig.h. It will be called on each iteration of the idle
   task. It is essential that code added to this hook function never attempts
   to block in any way (for example, call xQueueReceive() with a block time
   specified, or call vTaskDelay()). If the application makes use of the
   vTaskDelete() API function (as this demo application does) then it is also
   important that vApplicationIdleHook() is permitted to return to its calling
   function, because it is the responsibility of the idle task to clean up
   memory allocated by the kernel to any task that has since been deleted. */
}
/* USER CODE END 2 */
